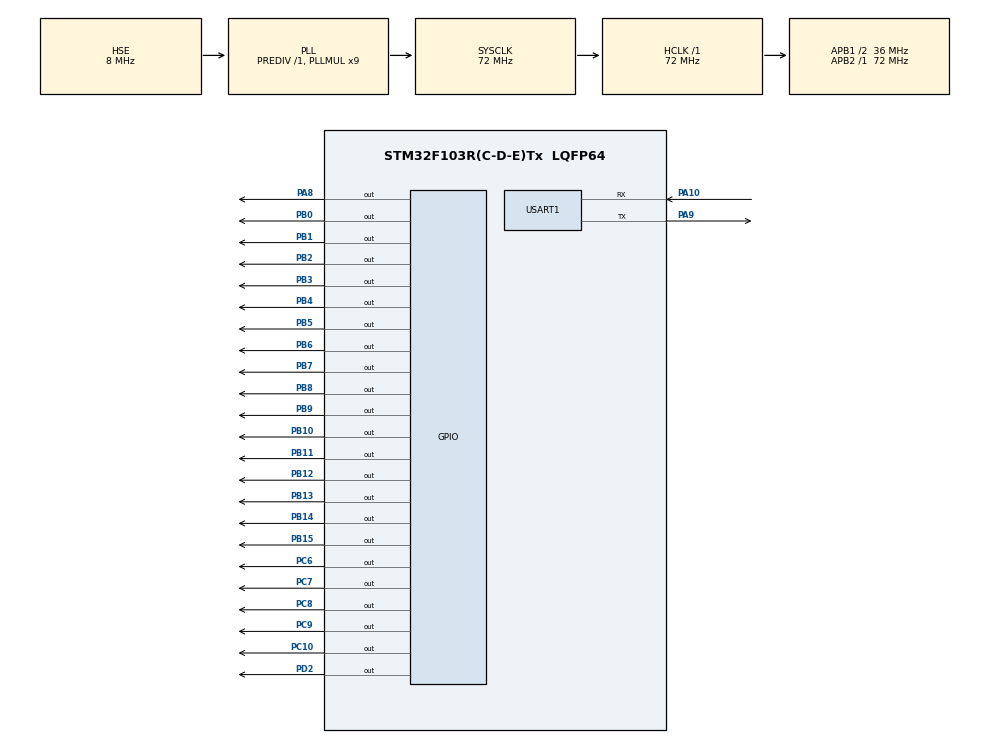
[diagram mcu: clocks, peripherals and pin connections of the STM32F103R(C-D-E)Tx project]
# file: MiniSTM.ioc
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Mcu.Family=STM32F1
Mcu.Name=STM32F103R(C-D-E)Tx
Mcu.Package=LQFP64
NVIC.PriorityGroup=NVIC_PRIORITYGROUP_4
NVIC.RTC_Alarm_IRQn=true\:5\:0\:true\:false\:true\:true\:true\:true
NVIC.RTC_IRQn=true\:4\:0\:true\:false\:true\:true\:true\:true
PA10.Mode=Asynchronous
PA10.Signal=USART1_RX
PA13.Mode=Serial_Wire
PA13.Signal=SYS_JTMS-SWDIO
PA14.Mode=Serial_Wire
PA14.Signal=SYS_JTCK-SWCLK
PA8.GPIO_PuPd=GPIO_PULLUP
PA8.Signal=GPIO_Output
PA9.Mode=Asynchronous
PA9.Signal=USART1_TX
PB0.GPIO_PuPd=GPIO_PULLUP
PB0.GPIO_Speed=GPIO_SPEED_FREQ_HIGH
PB0.Signal=GPIO_Output
PB1.GPIO_PuPd=GPIO_PULLUP
PB1.GPIO_Speed=GPIO_SPEED_FREQ_HIGH
PB1.Signal=GPIO_Output
PB10.GPIO_PuPd=GPIO_PULLUP
PB10.GPIO_Speed=GPIO_SPEED_FREQ_HIGH
PB10.Signal=GPIO_Output
PB11.GPIO_PuPd=GPIO_PULLUP
PB11.GPIO_Speed=GPIO_SPEED_FREQ_HIGH
PB11.Signal=GPIO_Output
PB12.GPIO_PuPd=GPIO_PULLUP
PB12.GPIO_Speed=GPIO_SPEED_FREQ_HIGH
PB12.Signal=GPIO_Output
PB13.GPIO_PuPd=GPIO_PULLUP
PB13.GPIO_Speed=GPIO_SPEED_FREQ_HIGH
PB13.Signal=GPIO_Output
PB14.GPIO_PuPd=GPIO_PULLUP
PB14.GPIO_Speed=GPIO_SPEED_FREQ_HIGH
PB14.Signal=GPIO_Output
PB15.GPIO_PuPd=GPIO_PULLUP
PB15.GPIO_Speed=GPIO_SPEED_FREQ_HIGH
PB15.Signal=GPIO_Output
PB2.GPIO_PuPd=GPIO_PULLUP
PB2.GPIO_Speed=GPIO_SPEED_FREQ_HIGH
PB2.Signal=GPIO_Output
PB3.GPIO_PuPd=GPIO_PULLUP
PB3.GPIO_Speed=GPIO_SPEED_FREQ_HIGH
PB3.Signal=GPIO_Output
PB4.GPIO_PuPd=GPIO_PULLUP
PB4.GPIO_Speed=GPIO_SPEED_FREQ_HIGH
PB4.Signal=GPIO_Output
PB5.GPIO_PuPd=GPIO_PULLUP
PB5.GPIO_Speed=GPIO_SPEED_FREQ_HIGH
PB5.Signal=GPIO_Output
PB6.GPIO_PuPd=GPIO_PULLUP
PB6.GPIO_Speed=GPIO_SPEED_FREQ_HIGH
PB6.Signal=GPIO_Output
PB7.GPIO_PuPd=GPIO_PULLUP
PB7.GPIO_Speed=GPIO_SPEED_FREQ_HIGH
PB7.Signal=GPIO_Output
PB8.GPIO_PuPd=GPIO_PULLUP
PB8.GPIO_Speed=GPIO_SPEED_FREQ_HIGH
PB8.Signal=GPIO_Output
PB9.GPIO_PuPd=GPIO_PULLUP
PB9.GPIO_Speed=GPIO_SPEED_FREQ_HIGH
PB9.Signal=GPIO_Output
PC10.GPIO_PuPd=GPIO_PULLUP
PC10.GPIO_Speed=GPIO_SPEED_FREQ_HIGH
PC10.Signal=GPIO_Output
PC14-OSC32_IN.Mode=LSE-External-Oscillator
PC14-OSC32_IN.Signal=RCC_OSC32_IN
PC15-OSC32_OUT.Mode=LSE-External-Oscillator
PC15-OSC32_OUT.Signal=RCC_OSC32_OUT
PC6.GPIO_PuPd=GPIO_PULLUP
PC6.GPIO_Speed=GPIO_SPEED_FREQ_HIGH
PC6.Signal=GPIO_Output
PC7.GPIO_PuPd=GPIO_PULLUP
PC7.GPIO_Speed=GPIO_SPEED_FREQ_HIGH
PC7.Signal=GPIO_Output
PC8.GPIO_PuPd=GPIO_PULLUP
PC8.GPIO_Speed=GPIO_SPEED_FREQ_HIGH
PC8.Signal=GPIO_Output
PC9.GPIO_PuPd=GPIO_PULLUP
PC9.GPIO_Speed=GPIO_SPEED_FREQ_HIGH
PC9.Signal=GPIO_Output
PD0-OSC_IN.Mode=HSE-External-Oscillator
PD0-OSC_IN.Signal=RCC_OSC_IN
PD1-OSC_OUT.Mode=HSE-External-Oscillator
PD1-OSC_OUT.Signal=RCC_OSC_OUT
PD2.GPIO_PuPd=GPIO_PULLUP
PD2.Signal=GPIO_Output
ProjectManager.HeapSize=0x200
ProjectManager.StackSize=0x400
ProjectManager.TargetToolchain=MDK-ARM V5.32
RCC.AHBFreq_Value=72000000
RCC.APB1CLKDivider=RCC_HCLK_DIV2
RCC.APB1Freq_Value=36000000
RCC.APB1TimFreq_Value=72000000
RCC.APB2Freq_Value=72000000
RCC.APB2TimFreq_Value=72000000
RCC.HCLKFreq_Value=72000000
RCC.PLLMUL=RCC_PLL_MUL9
RCC.PLLSourceVirtual=RCC_PLLSOURCE_HSE
RCC.SYSCLKFreq_VALUE=72000000
RCC.SYSCLKSource=RCC_SYSCLKSOURCE_PLLCLK
RCC.USBFreq_Value=72000000
RTC.Date=26
RTC.Hours=18
RTC.Minutes=8
RTC.Month=RTC_MONTH_NOVEMBER
RTC.Year=19
TIM4.AutoReloadPreload=TIM_AUTORELOAD_PRELOAD_DISABLE
TIM4.Channel-Output\ Compare1\ No\ Output=TIM_CHANNEL_1
TIM4.Period=1000
TIM4.Prescaler=8399
USART1.VirtualMode=VM_ASYNC
VP_RTC_VS_RTC_Activate.Mode=RTC_Enabled
VP_RTC_VS_RTC_Calendar.Mode=RTC_Calendar
VP_TIM4_VS_ClockSourceITR.Mode=TriggerSource_ITR0
board=custom

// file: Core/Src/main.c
/* USER CODE BEGIN Header */
/**
 ******************************************************************************
 * @file           : main.c
 * @brief          : Main program body
 ******************************************************************************
 * @attention
 *
 * Copyright (c) 2022 STMicroelectronics.
 * All rights reserved.
 *
 * This software is licensed under terms that can be found in the LICENSE file
 * in the root directory of this software component.
 * If no LICENSE file comes with this software, it is provided AS-IS.
 *
 ******************************************************************************
 */
/* USER CODE END Header */
#include "main.h"
#include "rtc.h"
#include "tim.h"
#include "usart.h"
#include "gpio.h"

/* USER CODE BEGIN Includes */
#include "led.h"
#include "lcd.h"
#include "uart.h"
#include "usmart.h"
#include "rt.h"
/* USER CODE END Includes */

void SystemClock_Config(void);

int main(void)
{
  /* USER CODE BEGIN 1 */
	uint8_t t;
  /* USER CODE END 1 */

  /* MCU Configuration--------------------------------------------------------*/

  /* Reset of all peripherals, Initializes the Flash interface and the Systick. */
  HAL_Init();

  /* Configure the system clock */
  SystemClock_Config();

  /* Initialize all configured peripherals */
  MX_GPIO_Init();
  MX_USART1_UART_Init();
  MX_TIM4_Init();
  MX_RTC_Init();
  /* USER CODE BEGIN 2 */
	LCD_Init();

  HAL_NVIC_EnableIRQ(TIM4_IRQn);
	HAL_NVIC_SetPriority(TIM4_IRQn,9,0);
	HAL_TIM_Base_Start_IT(&htim4);

	HAL_NVIC_EnableIRQ(USART1_IRQn);
	HAL_NVIC_SetPriority(USART1_IRQn,9,0);
	HAL_UART_Receive_IT(&huart1, (uint8_t *)aRxBuffer, RXBUFFERSIZE);

	__HAL_RTC_ALARM_ENABLE_IT(&hrtc,RTC_IT_SEC);
	__HAL_RTC_ALARM_ENABLE_IT(&hrtc,RTC_IT_ALRA);

	POINT_COLOR=RED;					//��������Ϊ��ɫ
	LCD_ShowString(30,50,200,16,16,"Mini STM32");
	LCD_ShowString(30,70,200,16,16,"RTC TEST");
	LCD_ShowString(30,90,200,16,16,"ATOM@ALIENTEK");
	LCD_ShowString(30,110,200,16,16,"2019/11/15");
	POINT_COLOR=BLUE;//��������Ϊ��ɫ
	LCD_ShowString(30,130,200,16,16,"20  -  -     ");
	LCD_ShowString(30,166,200,16,16,"  :  :  ");
  /* USER CODE END 2 */

  /* Infinite loop */
  /* USER CODE BEGIN WHILE */
	while (1)
	{
		if(t!=GetTime.Seconds)
		{
			t = GetTime.Seconds;
			LCD_ShowNum(46,130,GetDate.Year,2,16);
			LCD_ShowNum(70,130,GetDate.Month,2,16);
			LCD_ShowNum(94,130,GetDate.Date,2,16);
			switch(GetDate.WeekDay)
			{
				case 0:
					LCD_ShowString(30,148,200,16,16,"Sunday   ");
					break;
				case 1:
					LCD_ShowString(30,148,200,16,16,"Monday   ");
					break;
				case 2:
					LCD_ShowString(30,148,200,16,16,"Tuesday  ");
					break;
				case 3:
					LCD_ShowString(30,148,200,16,16,"Wednesday");
					break;
				case 4:
					LCD_ShowString(30,148,200,16,16,"Thursday ");
					break;
				case 5:
					LCD_ShowString(30,148,200,16,16,"Friday   ");
					break;
				case 6:
					LCD_ShowString(30,148,200,16,16,"Saturday ");
					break;
			}
			LCD_ShowNum(30,166,GetTime.Hours,2,16);
			LCD_ShowNum(54,166,GetTime.Minutes,2,16);
			LCD_ShowNum(78,166,GetTime.Seconds,2,16);
			LED0=!LED0;
		}
		HAL_Delay(10);
    /* USER CODE END WHILE */

	}
}

void SystemClock_Config(void)
{
  RCC_OscInitTypeDef RCC_OscInitStruct = {0};
  RCC_ClkInitTypeDef RCC_ClkInitStruct = {0};
  RCC_PeriphCLKInitTypeDef PeriphClkInit = {0};

  /** Initializes the RCC Oscillators according to the specified parameters
  * in the RCC_OscInitTypeDef structure.
  */
  RCC_OscInitStruct.OscillatorType = RCC_OSCILLATORTYPE_LSI|RCC_OSCILLATORTYPE_HSE;
  RCC_OscInitStruct.HSEState = RCC_HSE_ON;
  RCC_OscInitStruct.HSEPredivValue = RCC_HSE_PREDIV_DIV1;
  RCC_OscInitStruct.HSIState = RCC_HSI_ON;
  RCC_OscInitStruct.LSIState = RCC_LSI_ON;
  RCC_OscInitStruct.PLL.PLLState = RCC_PLL_ON;
  RCC_OscInitStruct.PLL.PLLSource = RCC_PLLSOURCE_HSE;
  RCC_OscInitStruct.PLL.PLLMUL = RCC_PLL_MUL9;
  if (HAL_RCC_OscConfig(&RCC_OscInitStruct) != HAL_OK)
  {
    Error_Handler();
  }

  /** Initializes the CPU, AHB and APB buses clocks
  */
  RCC_ClkInitStruct.ClockType = RCC_CLOCKTYPE_HCLK|RCC_CLOCKTYPE_SYSCLK
                              |RCC_CLOCKTYPE_PCLK1|RCC_CLOCKTYPE_PCLK2;
  RCC_ClkInitStruct.SYSCLKSource = RCC_SYSCLKSOURCE_PLLCLK;
  RCC_ClkInitStruct.AHBCLKDivider = RCC_SYSCLK_DIV1;
  RCC_ClkInitStruct.APB1CLKDivider = RCC_HCLK_DIV2;
  RCC_ClkInitStruct.APB2CLKDivider = RCC_HCLK_DIV1;

  if (HAL_RCC_ClockConfig(&RCC_ClkInitStruct, FLASH_LATENCY_2) != HAL_OK)
  {
    Error_Handler();
  }
  PeriphClkInit.PeriphClockSelection = RCC_PERIPHCLK_RTC;
  PeriphClkInit.RTCClockSelection = RCC_RTCCLKSOURCE_LSI;
  if (HAL_RCCEx_PeriphCLKConfig(&PeriphClkInit) != HAL_OK)
  {
    Error_Handler();
  }
}

void Error_Handler(void)
{
	__disable_irq();
	while (1)
	{
	}
}
